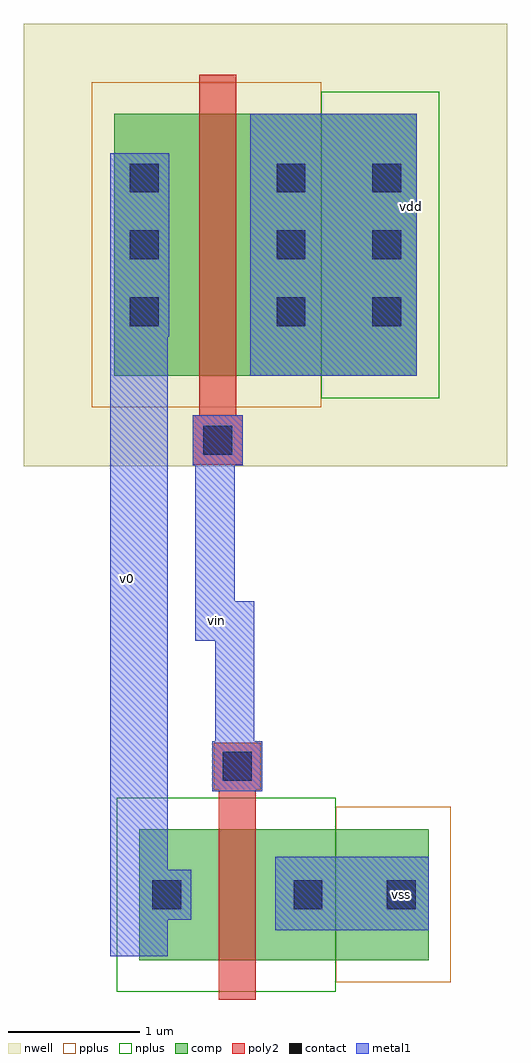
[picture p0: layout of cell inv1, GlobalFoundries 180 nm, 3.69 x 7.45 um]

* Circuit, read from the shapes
.subckt inv1 v0 vdd vin vss
XM1 vss vin v0 vss nfet_03v3 w=1u l=0.28u
XM2 vdd vin v0 vdd pfet_03v3 w=2u l=0.28u
.ends

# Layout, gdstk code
import gdstk
lib = gdstk.Library(unit=1e-6, precision=1e-09)
def R(c, l, rs):  # rectangles x0, y0, x1, y1
    for r in rs: c.add(gdstk.rectangle(r[:2], r[2:], *l))
def A(c, l, x, y, w, h, nx, ny, dx, dy):  # array of equal rectangles
    R(c, l, [(x+i*dx, y+j*dy, x+i*dx+w, y+j*dy+h) for i in range(nx) for j in range(ny)])
nwell = (21, 0)
comp = (22, 0)
poly2 = (30, 0)
pplus = (31, 0)
nplus = (32, 0)
contact = (33, 0)
metal1 = (34, 0)

nfet = lib.new_cell('nfet')
R(nfet, comp, [(-0.42,0,0,1), (0,0,0.66,1), (0.66,0,1.08,1), (1.08,0,1.79,1)])
R(nfet, poly2, [(0.19,-0.3,0.47,1.3), (0.15,1.3,0.51,1.66)])
R(nfet, pplus, [(1.08,-0.17,1.96,1.17)])
R(nfet, nplus, [(-0.59,-0.24,1.08,1.24)])
R(nfet, contact, [(-0.32,0.39,-0.1,0.61), (0.76,0.39,0.98,0.61), (1.47,0.39,1.69,0.61), (0.22,1.37,0.44,1.59)])
R(nfet, metal1, [(-0.4,0.309,-0.02,0.691), (0.68,0.309,1.06,0.691), (1.39,0.309,1.77,0.691), (0.14,1.289,0.52,1.671)])

pfet = lib.new_cell('pfet')
R(pfet, nwell, [(-1.15,-0.69,2.54,2.69)])
R(pfet, comp, [(-0.46,0,0,2), (0,0,0.66,2), (0.66,0,1.12,2), (1.12,0,1.85,2)])
R(pfet, poly2, [(0.14,-0.68,0.52,-0.3), (0.19,-0.3,0.47,2.3)])
R(pfet, pplus, [(-0.63,-0.24,1.12,2.24)])
R(pfet, nplus, [(1.12,-0.17,2.02,2.17)])
A(pfet, contact, -0.34, 0.38, 0.22, 0.22, 1, 3, 0, 0.51)
A(pfet, contact, 0.78, 0.38, 0.22, 0.22, 1, 3, 0, 0.51)
A(pfet, contact, 1.51, 0.38, 0.22, 0.22, 1, 3, 0, 0.51)
R(pfet, contact, [(0.22,-0.6,0.44,-0.38)])
R(pfet, metal1, [(0.14,-0.681,0.52,-0.299), (-0.42,0.3,-0.04,1.7), (0.7,0.3,1.08,1.7), (1.43,0.3,1.81,1.7)])

inv1 = lib.new_cell('inv1')
R(inv1, metal1, [(-0.97,-0.5,-0.53,5.63), (0.29,-0.3,1.46,0.26), (0.1,3.93,1.37,5.93)])
inv1.add(gdstk.FlexPath([(-0.02,0.95),(-0.02,2.06),(-0.17,2.06),(-0.17,3.44),(-0.17,3.44)], 0.3, ends="flush", simple_path=True, layer=34, datatype=0))  # metal1
inv1.add(gdstk.Reference(nfet, (-0.33,-0.53)))
inv1.add(gdstk.Reference(pfet, (-0.48,3.93)))
inv1.add(gdstk.Label('v0', (-0.84,2.38), layer=34, texttype=0))
inv1.add(gdstk.Label('vin', (-0.16,2.06), layer=34, texttype=0))
inv1.add(gdstk.Label('vdd', (1.33,5.22), layer=34, texttype=0))
inv1.add(gdstk.Label('vss', (1.25,-0.03), layer=34, texttype=0))

lib.write_gds('inv1.gds')
